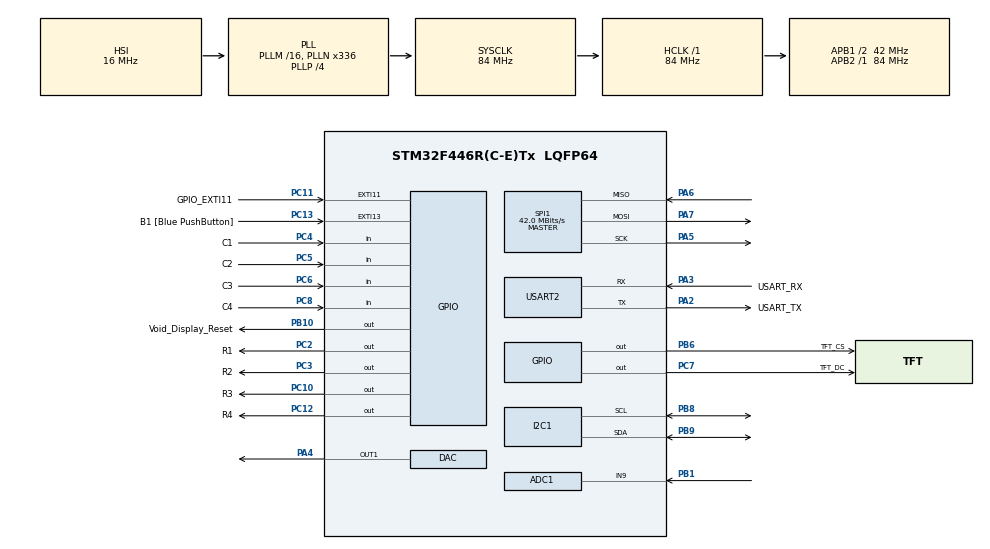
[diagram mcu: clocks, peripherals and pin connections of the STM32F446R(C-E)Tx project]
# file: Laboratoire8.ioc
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ADC1.Channel-1\#ChannelRegularConversion=ADC_CHANNEL_9
ADC1.DMAContinuousRequests=ENABLE
ADC1.ExternalTrigConv=ADC_EXTERNALTRIGCONV_T2_TRGO
ADC1.NbrOfConversionFlag=1
ADC1.Rank-1\#ChannelRegularConversion=1
ADC1.SamplingTime-1\#ChannelRegularConversion=ADC_SAMPLETIME_3CYCLES
ADC1.master=1
DAC.DAC_Trigger=DAC_TRIGGER_T2_TRGO
Dma.ADC1.1.Direction=DMA_PERIPH_TO_MEMORY
Dma.ADC1.1.FIFOMode=DMA_FIFOMODE_DISABLE
Dma.ADC1.1.Instance=DMA2_Stream0
Dma.ADC1.1.MemDataAlignment=DMA_MDATAALIGN_WORD
Dma.ADC1.1.MemInc=DMA_MINC_ENABLE
Dma.ADC1.1.Mode=DMA_CIRCULAR
Dma.ADC1.1.PeriphDataAlignment=DMA_PDATAALIGN_WORD
Dma.ADC1.1.PeriphInc=DMA_PINC_DISABLE
Dma.ADC1.1.Priority=DMA_PRIORITY_HIGH
Dma.DAC1.2.Direction=DMA_MEMORY_TO_PERIPH
Dma.DAC1.2.FIFOMode=DMA_FIFOMODE_DISABLE
Dma.DAC1.2.Instance=DMA1_Stream5
Dma.DAC1.2.MemDataAlignment=DMA_MDATAALIGN_WORD
Dma.DAC1.2.MemInc=DMA_MINC_ENABLE
Dma.DAC1.2.Mode=DMA_CIRCULAR
Dma.DAC1.2.PeriphDataAlignment=DMA_PDATAALIGN_WORD
Dma.DAC1.2.PeriphInc=DMA_PINC_DISABLE
Dma.DAC1.2.Priority=DMA_PRIORITY_HIGH
Dma.I2C1_RX.3.Direction=DMA_PERIPH_TO_MEMORY
Dma.I2C1_RX.3.FIFOMode=DMA_FIFOMODE_DISABLE
Dma.I2C1_RX.3.Instance=DMA1_Stream0
Dma.I2C1_RX.3.MemDataAlignment=DMA_MDATAALIGN_BYTE
Dma.I2C1_RX.3.MemInc=DMA_MINC_ENABLE
Dma.I2C1_RX.3.Mode=DMA_NORMAL
Dma.I2C1_RX.3.PeriphDataAlignment=DMA_PDATAALIGN_BYTE
Dma.I2C1_RX.3.PeriphInc=DMA_PINC_DISABLE
Dma.I2C1_RX.3.Priority=DMA_PRIORITY_HIGH
Dma.I2C1_TX.4.Direction=DMA_MEMORY_TO_PERIPH
Dma.I2C1_TX.4.FIFOMode=DMA_FIFOMODE_DISABLE
Dma.I2C1_TX.4.Instance=DMA1_Stream6
Dma.I2C1_TX.4.MemDataAlignment=DMA_MDATAALIGN_BYTE
Dma.I2C1_TX.4.MemInc=DMA_MINC_ENABLE
Dma.I2C1_TX.4.Mode=DMA_NORMAL
Dma.I2C1_TX.4.PeriphDataAlignment=DMA_PDATAALIGN_BYTE
Dma.I2C1_TX.4.PeriphInc=DMA_PINC_DISABLE
Dma.I2C1_TX.4.Priority=DMA_PRIORITY_HIGH
Dma.Request0=SPI1_TX
Dma.Request1=ADC1
Dma.Request2=DAC1
Dma.Request3=I2C1_RX
Dma.Request4=I2C1_TX
Dma.SPI1_TX.0.Direction=DMA_MEMORY_TO_PERIPH
Dma.SPI1_TX.0.FIFOMode=DMA_FIFOMODE_DISABLE
Dma.SPI1_TX.0.Instance=DMA2_Stream3
Dma.SPI1_TX.0.MemDataAlignment=DMA_MDATAALIGN_BYTE
Dma.SPI1_TX.0.MemInc=DMA_MINC_ENABLE
Dma.SPI1_TX.0.Mode=DMA_NORMAL
Dma.SPI1_TX.0.PeriphDataAlignment=DMA_PDATAALIGN_BYTE
Dma.SPI1_TX.0.PeriphInc=DMA_PINC_DISABLE
Dma.SPI1_TX.0.Priority=DMA_PRIORITY_LOW
I2C1.I2C_Mode=I2C_Fast
Mcu.Family=STM32F4
Mcu.Name=STM32F446R(C-E)Tx
Mcu.Package=LQFP64
NVIC.DMA1_Stream0_IRQn=true\:0\:0\:false\:false\:true\:false\:true\:true
NVIC.DMA1_Stream5_IRQn=true\:0\:0\:false\:false\:true\:false\:true\:true
NVIC.DMA1_Stream6_IRQn=true\:0\:0\:false\:false\:true\:false\:true\:true
NVIC.DMA2_Stream0_IRQn=true\:0\:0\:false\:false\:true\:false\:true\:true
NVIC.DMA2_Stream3_IRQn=true\:0\:0\:false\:false\:true\:false\:true\:true
NVIC.EXTI15_10_IRQn=true\:0\:0\:false\:false\:true\:true\:true\:true
NVIC.I2C1_ER_IRQn=true\:0\:0\:false\:false\:true\:true\:true\:true
NVIC.I2C1_EV_IRQn=true\:0\:0\:false\:false\:true\:true\:true\:true
NVIC.PriorityGroup=NVIC_PRIORITYGROUP_0
NVIC.SPI1_IRQn=true\:0\:0\:false\:false\:true\:true\:true\:true
PA13.GPIO_Label=TMS
PA13.Mode=Serial_Wire
PA13.Signal=SYS_JTMS-SWDIO
PA14.GPIO_Label=TCK
PA14.Mode=Serial_Wire
PA14.Signal=SYS_JTCK-SWCLK
PA2.GPIO_Label=USART_TX
PA2.Mode=Asynchronous
PA2.Signal=USART2_TX
PA3.GPIO_Label=USART_RX
PA3.Mode=Asynchronous
PA3.Signal=USART2_RX
PA4.Signal=COMP_DAC1_group
PA5.Mode=Full_Duplex_Master
PA5.Signal=SPI1_SCK
PA6.Mode=Full_Duplex_Master
PA6.Signal=SPI1_MISO
PA7.Mode=Full_Duplex_Master
PA7.Signal=SPI1_MOSI
PB1.Signal=ADCx_IN9
PB10.GPIO_Label=Void_Display_Reset
PB10.Signal=GPIO_Output
PB3.GPIO_Label=SWO
PB3.Signal=SYS_JTDO-SWO
PB6.GPIO_Label=TFT_CS
PB6.Signal=GPIO_Output
PB8.Mode=I2C
PB8.Signal=I2C1_SCL
PB9.Mode=I2C
PB9.Signal=I2C1_SDA
PC10.GPIO_Label=R3
PC10.GPIO_ModeDefaultOutputPP=GPIO_MODE_OUTPUT_OD
PC10.GPIO_PuPd=GPIO_NOPULL
PC10.Signal=GPIO_Output
PC11.GPIO_Label=GPIO_EXTI11
PC11.Signal=GPXTI11
PC12.GPIO_Label=R4
PC12.GPIO_ModeDefaultOutputPP=GPIO_MODE_OUTPUT_OD
PC12.GPIO_PuPd=GPIO_NOPULL
PC12.Signal=GPIO_Output
PC13.GPIO_Label=B1 [Blue PushButton]
PC13.GPIO_ModeDefaultEXTI=GPIO_MODE_IT_FALLING
PC13.Signal=GPXTI13
PC14-OSC32_IN.Mode=LSE-External-Oscillator
PC14-OSC32_IN.Signal=RCC_OSC32_IN
PC15-OSC32_OUT.Mode=LSE-External-Oscillator
PC15-OSC32_OUT.Signal=RCC_OSC32_OUT
PC2.GPIO_Label=R1
PC2.GPIO_ModeDefaultOutputPP=GPIO_MODE_OUTPUT_OD
PC2.GPIO_PuPd=GPIO_NOPULL
PC2.Signal=GPIO_Output
PC3.GPIO_Label=R2
PC3.GPIO_ModeDefaultOutputPP=GPIO_MODE_OUTPUT_OD
PC3.GPIO_PuPd=GPIO_NOPULL
PC3.Signal=GPIO_Output
PC4.GPIO_Label=C1
PC4.GPIO_PuPd=GPIO_PULLUP
PC4.Signal=GPIO_Input
PC5.GPIO_Label=C2
PC5.GPIO_PuPd=GPIO_PULLUP
PC5.Signal=GPIO_Input
PC6.GPIO_Label=C3
PC6.GPIO_PuPd=GPIO_PULLUP
PC6.Signal=GPIO_Input
PC7.GPIO_Label=TFT_DC
PC7.Signal=GPIO_Output
PC8.GPIO_Label=C4
PC8.GPIO_PuPd=GPIO_PULLUP
PC8.Signal=GPIO_Input
PH0-OSC_IN.Mode=HSE-External-Oscillator
PH0-OSC_IN.Signal=RCC_OSC_IN
PH1-OSC_OUT.Mode=HSE-External-Oscillator
PH1-OSC_OUT.Signal=RCC_OSC_OUT
ProjectManager.HeapSize=0x200
ProjectManager.StackSize=0x400
ProjectManager.TargetToolchain=MDK-ARM V5.32
RCC.48MHZClocksFreq_Value=84000000
RCC.AHBFreq_Value=84000000
RCC.APB1CLKDivider=RCC_HCLK_DIV2
RCC.APB1Freq_Value=42000000
RCC.APB1TimFreq_Value=84000000
RCC.APB2Freq_Value=84000000
RCC.APB2TimFreq_Value=84000000
RCC.CortexFreq_Value=84000000
RCC.FLatency-AdvancedSettings=FLASH_LATENCY_2
RCC.HCLKFreq_Value=84000000
RCC.HSE_VALUE=8000000
RCC.HSI_VALUE=16000000
RCC.PLLN=336
RCC.PLLP=RCC_PLLP_DIV4
RCC.SYSCLKFreq_VALUE=84000000
RCC.SYSCLKSource=RCC_SYSCLKSOURCE_PLLCLK
RCC.USBFreq_Value=168000000
RCC.VCOOutputFreq_Value=336000000
SH.ADCx_IN9.0=ADC1_IN9,IN9
SH.COMP_DAC1_group.0=DAC_OUT1,DAC_OUT1
SPI1.CalculateBaudRate=42.0 MBits/s
SPI1.Direction=SPI_DIRECTION_2LINES
SPI1.Mode=SPI_MODE_MASTER
SPI1.VirtualType=VM_MASTER
TIM2.Period=24
TIM2.Prescaler=83
TIM2.TIM_MasterOutputTrigger=TIM_TRGO_UPDATE
USART2.VirtualMode=VM_ASYNC
VP_TIM2_VS_ClockSourceINT.Mode=Internal
board=NUCLEO-F446RE

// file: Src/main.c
/* USER CODE BEGIN Header */
/**
  ******************************************************************************
  * @file           : main.c
  * @brief          : Main program body
  ******************************************************************************
  * @attention
  *
  * Copyright (c) 2024 STMicroelectronics.
  * All rights reserved.
  *
  * This software is licensed under terms that can be found in the LICENSE file
  * in the root directory of this software component.
  * If no LICENSE file comes with this software, it is provided AS-IS.
  *
  ******************************************************************************
  */

/* USER CODE END Header */
#include "main.h"
#include "adc.h"
#include "dac.h"
#include "dma.h"
#include "i2c.h"
#include "spi.h"
#include "tim.h"
#include "usart.h"
#include "gpio.h"

/* USER CODE BEGIN Includes */
#include "stdio.h"
#include "math.h"

#include "ili9341.h"
#include "ili9341_gfx.h"
/* USER CODE END Includes */

/* USER CODE BEGIN PD */

#define MPU6050_ADDR 0x68<<1
#define WHO_AM_I_REG 0x75
#define PWR_MGMT_1_REG 0x6B
#define GYRO_CONFIG_REG 0x1B
#define ACCEL_CONFIG_REG 0x1C
#define CONFIG_REG 0x1A
#define INT_ENABLE_REG 0x38
#define ACCEL_XOUT_H_REG 0x3B

/* USER CODE END PD */

/* USER CODE BEGIN PV */
ili9341_t *_screen;
float Ax;
float Ay;
float Az;
volatile int tag_started = 0;
uint8_t Rec_Data[6];
volatile int16_t Accel_X_RAW, Accel_Y_RAW, Accel_Z_RAW;
volatile int16_t Gyro_X_RAW, Gyro_Y_RAW, Gyro_Z_RAW;
volatile int flagPIN11 = 1;
volatile int flag_done = 1;
char buf[100];
HAL_StatusTypeDef status;
uint8_t data;

/* USER CODE END PV */

void SystemClock_Config(void);
/* USER CODE BEGIN PFP */
void HAL_GPIO_EXTI_Callback(uint16_t GPIO_Pin) {
	UNUSED(GPIO_Pin);
	if ((GPIO_Pin == GPIO_PIN_11) & tag_started) {
		flagPIN11 = 1;
	}
}

void HAL_I2C_MemRxCpltCallback(I2C_HandleTypeDef *hi2c) {
	UNUSED(hi2c);
	if (hi2c->Instance == I2C1) {
		flag_done = 1;

		Accel_X_RAW = (int16_t)(Rec_Data[0] << 8 | Rec_Data [1]);
		Accel_Y_RAW = (int16_t)(Rec_Data[2] << 8 | Rec_Data [3]);
		Accel_Z_RAW = (int16_t)(Rec_Data[4] << 8 | Rec_Data [5]);
		Ax = Accel_X_RAW*100/16384.0;
		Ay = Accel_Y_RAW*100/16384.0;
		Az = Accel_Z_RAW*100/16384.0;
	}
}

void AccelInnit(void) {
	ili9341_text_attr_t text_attr = {&ili9341_font_11x18,ILI9341_WHITE,	ILI9341_BLACK,0,0};

	// HAL_I2C_IsDeviceReady
	status = HAL_I2C_IsDeviceReady(&hi2c1, MPU6050_ADDR, 10, 100);
	while (status!=HAL_OK){
		status = HAL_I2C_IsDeviceReady(&hi2c1, MPU6050_ADDR, 1000, 1000);
		if (status == HAL_BUSY) sprintf(buf,"I2C busy... %#04x", status);
		else if (status == HAL_ERROR) sprintf(buf,"I2C Error... %#04x", status);
		else sprintf(buf,"status: %#04x", status);
		ili9341_draw_string(_screen, text_attr, buf);
		HAL_Delay(10);
	}

	// WHO_AM_I
	uint8_t data_WhoAmI;
	status = HAL_I2C_Mem_Read_DMA(&hi2c1, MPU6050_ADDR, WHO_AM_I_REG, 1, &data_WhoAmI, 1);
	while	(status != HAL_OK) {
		status = HAL_I2C_Mem_Read_DMA(&hi2c1, MPU6050_ADDR, WHO_AM_I_REG, 1, &data_WhoAmI, 1);
		sprintf(buf,"CHECKING ACCELEROMETER CONNECTION...");
		text_attr.origin_y = 20;
		ili9341_draw_string(_screen, text_attr, buf);
		HAL_Delay(10);
	};

	sprintf(buf,"ACCELEROMETER CONNECTED!");
	ili9341_draw_string(_screen, text_attr, buf);

	// RESET SLEEP MODE, SELECT INTERNAL CLOCK
	data = 0;
	status = HAL_I2C_Mem_Write_DMA(&hi2c1, MPU6050_ADDR, PWR_MGMT_1_REG, 1, &data, 1);
	while (status != HAL_OK) {
		status = HAL_I2C_Mem_Write_DMA(&hi2c1, MPU6050_ADDR, PWR_MGMT_1_REG, 1, &data, 1);
		sprintf(buf,"WHO_AM_I...");
		text_attr.origin_y = 20;
		ili9341_draw_string(_screen, text_attr, buf);
		HAL_Delay(10);
	};

	sprintf(buf,"WHO_AM_I -> %u", data_WhoAmI);
	text_attr.origin_y = 20;
	ili9341_draw_string(_screen, text_attr, buf);

	// FS_SEL = ±250°/s, DESACTIVER SELFTEST
	data = 0;
	status = HAL_I2C_Mem_Write_DMA(&hi2c1, MPU6050_ADDR, GYRO_CONFIG_REG, 1, &data, 1);
	while (status != HAL_OK) {
		status = HAL_I2C_Mem_Write_DMA(&hi2c1, MPU6050_ADDR, GYRO_CONFIG_REG, 1, &data, 1);
		sprintf(buf,"PWR_MGMT_1...");
		text_attr.origin_y = 40;
		ili9341_draw_string(_screen, text_attr, buf);
		HAL_Delay(10);
	};
	sprintf(buf,"PWR_MGMT_1 : OK!");
	text_attr.origin_y = 40;
	ili9341_draw_string(_screen, text_attr, buf);

	// AFS_SEL = ±2g, DESACTIVER SELFTEST
	data = 0;
	status = HAL_I2C_Mem_Write_DMA(&hi2c1, MPU6050_ADDR, ACCEL_CONFIG_REG, 1, &data, 1);
	while (status != HAL_OK) {
		status = HAL_I2C_Mem_Write_DMA(&hi2c1, MPU6050_ADDR, ACCEL_CONFIG_REG, 1, &data, 1);
		sprintf(buf,"GYRO_CONFIG...");
		text_attr.origin_y = 60;
		ili9341_draw_string(_screen, text_attr, buf);
		HAL_Delay(10);
	};
	sprintf(buf,"GYRO_CONFIG : OK!");
	text_attr.origin_y = 60;
	ili9341_draw_string(_screen, text_attr, buf);

	// Bandwidth = 94
	data = 2;
	status = HAL_I2C_Mem_Write_DMA(&hi2c1, MPU6050_ADDR, CONFIG_REG, 1, &data, 1);
	while (status != HAL_OK) {
		status = HAL_I2C_Mem_Write_DMA(&hi2c1, MPU6050_ADDR, CONFIG_REG, 1, &data, 1);
		sprintf(buf,"ACCEL_CONFIG...");
		text_attr.origin_y = 80;
		ili9341_draw_string(_screen, text_attr, buf);
		HAL_Delay(10);
	};
	sprintf(buf,"ACCEL_CONFIG : OK!");
	text_attr.origin_y = 80;
	ili9341_draw_string(_screen, text_attr, buf);

	// DATA_RDY_EN = 1
	data = 1;
	status = HAL_I2C_Mem_Write_DMA(&hi2c1, MPU6050_ADDR, INT_ENABLE_REG, 1, &data, 1);
	while (status != HAL_OK) {
		status = HAL_I2C_Mem_Write_DMA(&hi2c1, MPU6050_ADDR, INT_ENABLE_REG, 1, &data, 1);
		sprintf(buf,"CONFIG...");
		text_attr.origin_y = 100;
		ili9341_draw_string(_screen, text_attr, buf);
		HAL_Delay(10);
	};
	sprintf(buf,"CONFIG : OK!");
	text_attr.origin_y = 100;
	ili9341_draw_string(_screen, text_attr, buf);

	sprintf(buf,"INT_ENABLE : OK!");
	text_attr.origin_y = 120;
	ili9341_draw_string(_screen, text_attr, buf);

	HAL_Delay(2000);
	ili9341_fill_screen(_screen, ILI9341_BLACK);
	text_attr.origin_y = 0;

};

/* USER CODE END PFP */

int main(void)
{

  /* MCU Configuration--------------------------------------------------------*/

  /* Reset of all peripherals, Initializes the Flash interface and the Systick. */
  HAL_Init();

  /* Configure the system clock */
  SystemClock_Config();

  /* Initialize all configured peripherals */
  MX_GPIO_Init();
  MX_DMA_Init();
  MX_USART2_UART_Init();
  MX_SPI1_Init();
  MX_ADC1_Init();
  MX_TIM2_Init();
  MX_DAC_Init();
  MX_I2C1_Init();
	HAL_I2C_DeInit(&hi2c1);
	__HAL_I2C_CLEAR_FLAG(&hi2c1, I2C_FLAG_BERR);  // Bus error
	__HAL_I2C_CLEAR_FLAG(&hi2c1, I2C_FLAG_ARLO);  // Arbitration lost
	__HAL_I2C_CLEAR_FLAG(&hi2c1, I2C_FLAG_OVR);   // Overrun/Underrun error
  MX_I2C1_Init();
  /* USER CODE BEGIN 2 */
	_screen = ili9341_new(
		&hspi1,
		Void_Display_Reset_GPIO_Port, Void_Display_Reset_Pin,
		TFT_CS_GPIO_Port, TFT_CS_Pin,
		TFT_DC_GPIO_Port, TFT_DC_Pin,
		isoLandscape,
		NULL, NULL,
		NULL, NULL,
		itsNotSupported,
		itnNormalized);

	ili9341_fill_screen(_screen, ILI9341_BLACK);
	ili9341_text_attr_t text_attr = {&ili9341_font_11x18, ILI9341_WHITE, ILI9341_BLACK,0,0};

	HAL_TIM_Base_Start(&htim2);
	AccelInnit();
	tag_started = 1;

  /* USER CODE END 2 */

  /* Infinite loop */
  while (1)
  {
    /* USER CODE BEGIN 3 */
		if (flagPIN11 & flag_done) {
			flagPIN11 = 0;
			flag_done = 0;
			HAL_I2C_Mem_Read_DMA(&hi2c1, MPU6050_ADDR, ACCEL_XOUT_H_REG, 1, Rec_Data, 6);
		}
		printf("\033\143");
		sprintf(buf,"x: %f g\r\ny: %f g\r\nz: %f g", Ax, Ay, Az);
		printf(buf,"x: %f g\r\ny: %f g\r\nz: %f g", Ax, Ay, Az);
		ili9341_draw_string(_screen, text_attr, buf);
		HAL_Delay(100);
  }
  /* USER CODE END 3 */
}

void SystemClock_Config(void)
{
  RCC_OscInitTypeDef RCC_OscInitStruct = {0};
  RCC_ClkInitTypeDef RCC_ClkInitStruct = {0};

  /** Configure the main internal regulator output voltage
  */
  __HAL_RCC_PWR_CLK_ENABLE();
  __HAL_PWR_VOLTAGESCALING_CONFIG(PWR_REGULATOR_VOLTAGE_SCALE3);

  /** Initializes the RCC Oscillators according to the specified parameters
  * in the RCC_OscInitTypeDef structure.
  */
  RCC_OscInitStruct.OscillatorType = RCC_OSCILLATORTYPE_HSI;
  RCC_OscInitStruct.HSIState = RCC_HSI_ON;
  RCC_OscInitStruct.HSICalibrationValue = RCC_HSICALIBRATION_DEFAULT;
  RCC_OscInitStruct.PLL.PLLState = RCC_PLL_ON;
  RCC_OscInitStruct.PLL.PLLSource = RCC_PLLSOURCE_HSI;
  RCC_OscInitStruct.PLL.PLLM = 16;
  RCC_OscInitStruct.PLL.PLLN = 336;
  RCC_OscInitStruct.PLL.PLLP = RCC_PLLP_DIV4;
  RCC_OscInitStruct.PLL.PLLQ = 2;
  RCC_OscInitStruct.PLL.PLLR = 2;
  if (HAL_RCC_OscConfig(&RCC_OscInitStruct) != HAL_OK)
  {
    Error_Handler();
  }

  /** Initializes the CPU, AHB and APB buses clocks
  */
  RCC_ClkInitStruct.ClockType = RCC_CLOCKTYPE_HCLK|RCC_CLOCKTYPE_SYSCLK
                              |RCC_CLOCKTYPE_PCLK1|RCC_CLOCKTYPE_PCLK2;
  RCC_ClkInitStruct.SYSCLKSource = RCC_SYSCLKSOURCE_PLLCLK;
  RCC_ClkInitStruct.AHBCLKDivider = RCC_SYSCLK_DIV1;
  RCC_ClkInitStruct.APB1CLKDivider = RCC_HCLK_DIV2;
  RCC_ClkInitStruct.APB2CLKDivider = RCC_HCLK_DIV1;

  if (HAL_RCC_ClockConfig(&RCC_ClkInitStruct, FLASH_LATENCY_2) != HAL_OK)
  {
    Error_Handler();
  }
}

/* USER CODE BEGIN 4 */
int fputc(int ch, FILE *f)
{
 /* Place your implementation of fputc here */
 /* e.g. write a character to the USART2 and Loop until the end of transmission */
	HAL_UART_Transmit(&huart2, (uint8_t *)&ch, 1, 0xFFFF);
	return ch;
}

/* USER CODE END 4 */

void Error_Handler(void)
{
  __disable_irq();
  while (1)
  {
  }
}
